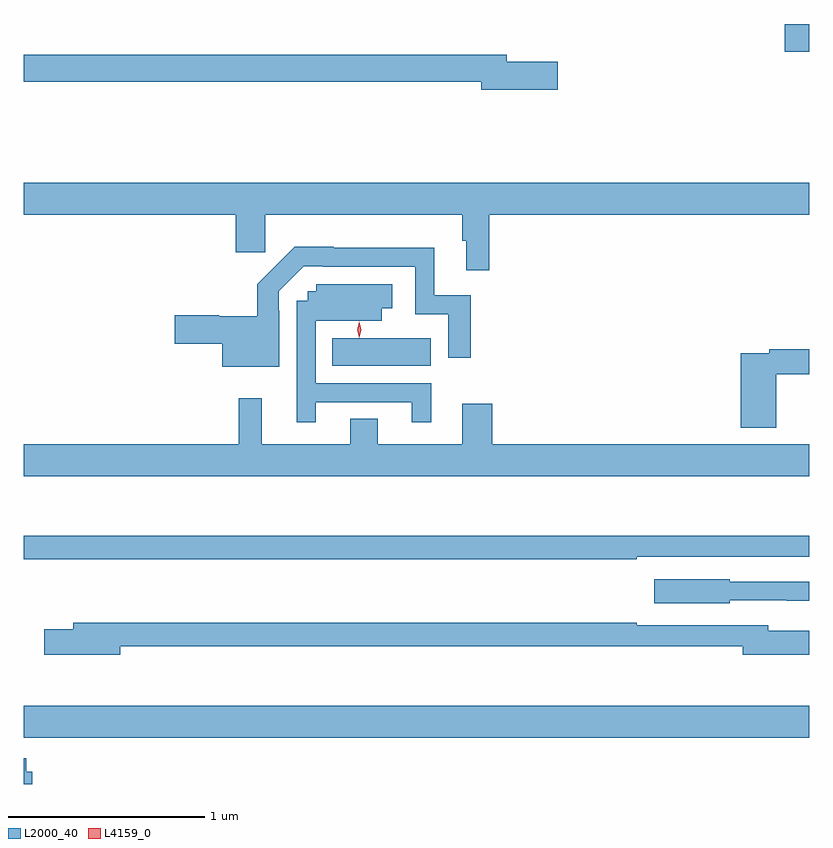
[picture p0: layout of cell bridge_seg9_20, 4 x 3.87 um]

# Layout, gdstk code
import gdstk
lib = gdstk.Library(unit=1e-6, precision=1e-09)
def R(c, l, rs):  # rectangles x0, y0, x1, y1
    for r in rs: c.add(gdstk.rectangle(r[:2], r[2:], *l))
def P(c, l, *ps):  # polygons
    for p in ps: c.add(gdstk.Polygon(p, *l))
L2000_40 = (2000, 40)
L4159_0 = (4159, 0)

bridge_seg9_20 = lib.new_cell('bridge_seg9_20')
R(bridge_seg9_20, L2000_40, [(1010.831,1180.436,1014.831,1180.6), (1012.402,1182.332,1012.903,1182.472), (1014.708,1183.931,1014.831,1184.073)])
P(bridge_seg9_20, L2000_40, [(1013.551,1183.88),(1013.29,1183.88),(1013.29,1183.916),(1010.831,1183.916),(1010.831,1183.78),(1013.162,1183.78),(1013.162,1183.738),(1013.551,1183.738)],
  [(1013.201,1183.1),(1014.831,1183.1),(1014.831,1183.264),(1010.831,1183.264),(1010.831,1183.1),(1011.911,1183.1),(1011.911,1182.909),(1012.061,1182.909),(1012.061,1183.1),(1013.065,1183.1),(1013.065,1182.968),(1013.084,1182.968),(1013.084,1182.819),(1013.201,1182.819)],
  [(1012.131,1182.611),(1012.128,1182.611),(1012.128,1182.711),(1012.257,1182.84),(1012.357,1182.84),(1012.357,1182.837),(1012.824,1182.837),(1012.824,1182.594),(1012.992,1182.594),(1012.992,1182.372),(1013.108,1182.372),(1013.108,1182.69),(1012.921,1182.69),(1012.921,1182.934),(1012.409,1182.934),(1012.409,1182.937),(1012.21,1182.937),(1012.019,1182.746),(1012.019,1182.585),(1011.825,1182.585),(1011.825,1182.59),(1011.6,1182.59),(1011.6,1182.443),(1011.842,1182.443),(1011.842,1182.326),(1012.131,1182.326)],
  [(1012.318,1182.147),(1012.808,1182.147),(1012.808,1182.045),(1012.906,1182.045),(1012.906,1182.243),(1012.317,1182.243),(1012.317,1182.56),(1012.654,1182.56),(1012.654,1182.626),(1012.708,1182.626),(1012.708,1182.748),(1012.32,1182.748),(1012.32,1182.711),(1012.278,1182.711),(1012.278,1182.663),(1012.221,1182.663),(1012.221,1182.045),(1012.318,1182.045)],
  [(1014.665,1182.288),(1014.831,1182.288),(1014.831,1182.416),(1014.628,1182.416),(1014.628,1182.396),(1014.482,1182.396),(1014.482,1182.017),(1014.665,1182.017)],
  [(1014.831,1181.932),(1013.216,1181.932),(1013.216,1182.139),(1013.063,1182.139),(1013.063,1181.932),(1012.633,1181.932),(1012.633,1182.062),(1012.493,1182.062),(1012.493,1181.932),(1012.043,1181.932),(1012.043,1182.166),(1011.925,1182.166),(1011.925,1181.932),(1010.831,1181.932),(1010.831,1181.768),(1014.831,1181.768)],
  [(1013.954,1181.358),(1014.831,1181.358),(1014.831,1181.467),(1010.831,1181.467),(1010.831,1181.346),(1013.954,1181.346)],
  [(1014.426,1181.136),(1014.718,1181.136),(1014.718,1181.135),(1014.831,1181.135),(1014.831,1181.232),(1014.426,1181.232),(1014.426,1181.245),(1014.042,1181.245),(1014.042,1181.123),(1014.426,1181.123)],
  [(1011.322,1180.902),(1014.494,1180.902),(1014.494,1180.859),(1014.831,1180.859),(1014.831,1180.981),(1014.622,1180.981),(1014.622,1181.01),(1013.954,1181.01),(1013.954,1181.023),(1011.083,1181.023),(1011.083,1180.989),(1010.934,1180.989),(1010.934,1180.859),(1011.322,1180.859)],
  [(1010.873,1180.264),(1010.843,1180.264),(1010.843,1180.333),(1010.831,1180.333),(1010.831,1180.201),(1010.873,1180.201)])
P(bridge_seg9_20, L4159_0, [(1012.539,1182.474),(1012.539,1182.474),(1012.529,1182.515),(1012.539,1182.556),(1012.539,1182.556),(1012.539,1182.556),(1012.549,1182.515),(1012.539,1182.474)])

lib.write_gds('bridge_seg9_20.gds')
